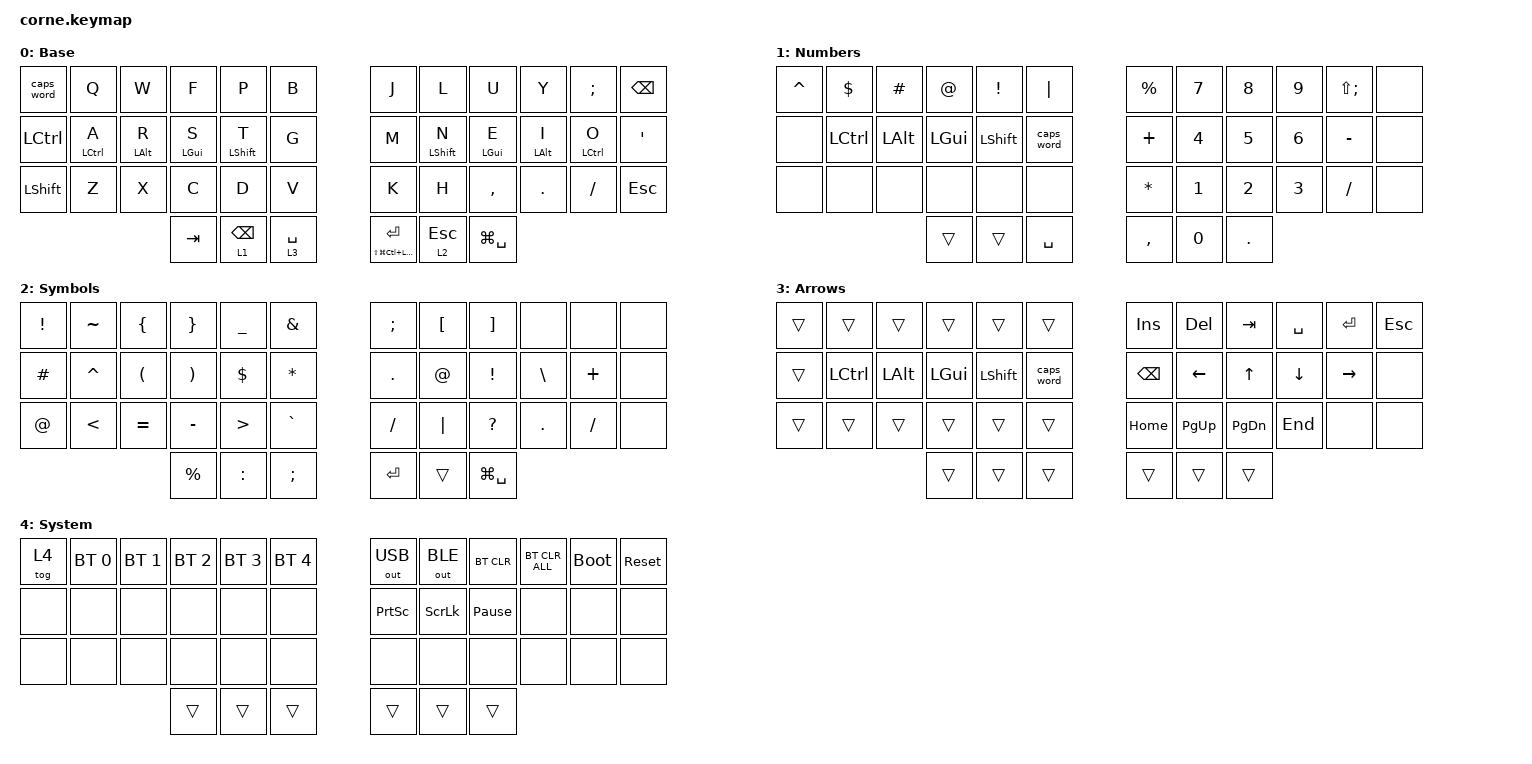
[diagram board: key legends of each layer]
/*
 * Copyright (c) 2020 The ZMK Contributors
 *
 * SPDX-License-Identifier: MIT
 */

#include <behaviors.dtsi>
#include <dt-bindings/zmk/bt.h>
#include <dt-bindings/zmk/keys.h>
#include <dt-bindings/zmk/outputs.h>

#define LEFT_HAND_KEYS  0  1  2  3  4  5 12 13 14 15 16 17 24 25 26 27 28 29
#define RIGHT_HAND_KEYS 6  7  8  9 10 11 18 19 20 21 22 23 30 31 32 33 34 35
#define THUMB_KEYS     36 37 38 39 40 41
#define HOMEY_HOLDING_TIME 240
#define HOMEY_STREAK_DECAY 160
#define HOMEY_REPEAT_DECAY 300
#define INDEX_HOLDING_TIME 180
#define INDEX_STREAK_DECAY 100
#define INDEX_REPEAT_DECAY 300
#define THUMB_HOLDING_TIME 200
#define THUMB_REPEAT_DECAY 300
#define SPACE_REPEAT_DECAY 150

/ {
    behaviors {
        lhm: left_home_row_mod {
            compatible = "zmk,behavior-hold-tap";
            flavor = "tap-preferred";
            hold-trigger-key-positions = <RIGHT_HAND_KEYS THUMB_KEYS>;
            hold-trigger-on-release;
            tapping-term-ms = <HOMEY_HOLDING_TIME>;
            quick-tap-ms = <HOMEY_REPEAT_DECAY>;
            require-prior-idle-ms = <HOMEY_STREAK_DECAY>;
            #binding-cells = <2>;
            bindings = <&kp>, <&kp>;
        };

        rhm: right_home_row_mod {
            compatible = "zmk,behavior-hold-tap";
            flavor = "tap-preferred";
            hold-trigger-key-positions = <LEFT_HAND_KEYS THUMB_KEYS>;
            hold-trigger-on-release;
            tapping-term-ms = <HOMEY_HOLDING_TIME>;
            quick-tap-ms = <HOMEY_REPEAT_DECAY>;
            require-prior-idle-ms = <HOMEY_STREAK_DECAY>;
            #binding-cells = <2>;
            bindings = <&kp>, <&kp>;
        };

        lihm: left_index_home_row_mod {
            compatible = "zmk,behavior-hold-tap";
            flavor = "tap-preferred";
            hold-trigger-key-positions = <RIGHT_HAND_KEYS THUMB_KEYS>;
            hold-trigger-on-release;
            tapping-term-ms = <INDEX_HOLDING_TIME>;
            quick-tap-ms = <INDEX_REPEAT_DECAY>;
            require-prior-idle-ms = <INDEX_STREAK_DECAY>;
            #binding-cells = <2>;
            bindings = <&kp>, <&kp>;
        };

        rihm: right_index_home_row_mod {
            compatible = "zmk,behavior-hold-tap";
            flavor = "tap-preferred";
            hold-trigger-key-positions = <LEFT_HAND_KEYS THUMB_KEYS>;
            hold-trigger-on-release;
            tapping-term-ms = <INDEX_HOLDING_TIME>;
            quick-tap-ms = <INDEX_REPEAT_DECAY>;
            require-prior-idle-ms = <INDEX_STREAK_DECAY>;
            #binding-cells = <2>;
            bindings = <&kp>, <&kp>;
        };

        thumb: thumb_layer_tap {
            compatible = "zmk,behavior-hold-tap";
            flavor = "balanced";
            tapping-term-ms = <THUMB_HOLDING_TIME>;
            quick-tap-ms = <THUMB_REPEAT_DECAY>;
            #binding-cells = <2>;
            bindings = <&mo>, <&kp>;
        };

        space: space_layer_tap {
            compatible = "zmk,behavior-hold-tap";
            flavor = "balanced";
            tapping-term-ms = <THUMB_HOLDING_TIME>;
            quick-tap-ms = <SPACE_REPEAT_DECAY>;
            #binding-cells = <2>;
            bindings = <&mo>, <&kp>;
        };

        thm: thumb_mod_tap {
            compatible = "zmk,behavior-hold-tap";
            flavor = "balanced";
            tapping-term-ms = <THUMB_HOLDING_TIME>;
            quick-tap-ms = <THUMB_REPEAT_DECAY>;
            #binding-cells = <2>;
            bindings = <&kp>, <&kp>;
        };

        behavior_caps_word {
            continue-list = <
                            UNDERSCORE MINUS
                            BACKSPACE DELETE
                            N1 N2 N3 N4 N5 N6 N7 N8 N9 N0
            >;
        };
    };
};

/ {
    combos {
        compatible = "zmk,combos";

        combo_system_layer_toggle {
            timeout-ms = <50>;
            key-positions = <0 11>;
            bindings = <&tog 4>;
            layers = <0>;
        };
    };
};

/ {
    keymap {
        compatible = "zmk,keymap";

        default_layer {
            // -----------------------------------------------------------------------------------------
            // | CAPS |  Q  |  W  |  F  |  P  |  B  |   |  J  |  L   |  U  |  Y  |  ;  | BKSP |
            // | CTRL | A/C | R/A | S/G | T/S |  G  |   |  M  | N/S  | E/G | I/A | O/C |  '   |
            // | SHFT |  Z  |  X  |  C  |  D  |  V  |   |  K  |  H   |  ,  |  .  |  /  | ESC  |
            //                    | TAB | BKSP| ARR |   | HYP | ESC/SYM | RAY |

            display-name = "Base";
            bindings = <
&caps_word  &kp Q         &kp W        &kp F        &kp P          &kp B             &kp J                      &kp L          &kp U          &kp Y        &kp SEMI      &kp BSPC
&kp LCTRL   &lhm LCTRL A  &lhm LALT R  &lhm LGUI S  &lihm LSHFT T  &kp G             &kp M                      &rihm LSHFT N  &rhm LGUI E    &rhm LALT I  &rhm LCTRL O  &kp SQT
&kp LSHFT   &kp Z         &kp X        &kp C        &kp D          &kp V             &kp K                      &kp H          &kp COMMA      &kp DOT      &kp FSLH      &kp ESC
                                       &kp TAB      &thumb 1 BSPC  &space 3 SPACE    &thm LS(LG(LC(LALT))) RET  &thumb 2 ESC   &kp LG(SPACE)
            >;
        };

        number_layer {
            // -----------------------------------------------------------------------------------------
            // |  ^   |  $  |  #  |  @  |  !  | "|" |   |  %  |  7  |  8  |  9  |  :  |     |
            // |      | CTL | ALT | GUI | SHFT| CAPS|   |  +  |  4  |  5  |  6  |  -  |     |
            // |      |     |     |     |     |     |   |  *  |  1  |  2  |  3  |  /  |     |
            //                    | TAB |     | SPC |   |  ,  |  0  |  .  |

            display-name = "Numbers";
            bindings = <
&kp CARET  &kp DLLR   &kp HASH  &kp AT    &kp EXCL   &kp PIPE      &kp PRCNT  &kp N7  &kp N8   &kp N9  &kp LS(SEMI)  &none
&none      &kp LCTRL  &kp LALT  &kp LGUI  &kp LSHFT  &caps_word    &kp PLUS   &kp N4  &kp N5   &kp N6  &kp MINUS     &none
&none      &none      &none     &none     &none      &none         &kp STAR   &kp N1  &kp N2   &kp N3  &kp FSLH      &none
                                &trans    &trans     &kp SPACE     &kp COMMA  &kp N0  &kp DOT
            >;
        };

        raise_layer {
            // -----------------------------------------------------------------------------------------
            // |  !   |  ~  |  {  |  }  |  _  |  &  |   |  ;  |  [  |  ]  |     |     |      |
            // |  #   |  ^  |  (  |  )  |  $  |  *  |   |  .  |  @  |  !  |  \  |  +  |      |
            // |  @   |  <  |  =  |  -  |  >  |  `  |   |  /  | "|" |  ?  |  .  |  /  |      |
            //                    | GUI |     | SPC |   | ENT |     | RAY |

            display-name = "Symbols";
            bindings = <
&kp EXCL  &kp TILDE  &kp LBRC   &kp RBRC     &kp UNDER  &kp AMPS     &kp SEMI  &kp LBKT  &kp RBKT       &none     &none     &none
&kp HASH  &kp CARET  &kp LPAR   &kp RPAR     &kp DLLR   &kp STAR     &kp DOT   &kp AT    &kp EXCL       &kp BSLH  &kp PLUS  &none
&kp AT    &kp LT     &kp EQUAL  &kp MINUS    &kp GT     &kp GRAVE    &kp FSLH  &kp PIPE  &kp QMARK      &kp DOT   &kp FSLH  &none
                                &kp PERCENT  &kp COLON  &kp SEMI     &kp RET   &trans    &kp LG(SPACE)
            >;
        };

        arrow_layer {
            // -----------------------------------------------------------------------------------------
            // |      |     |     |     |     |     |   | INS | DEL | TAB | SPC | RET | ESC |
            // |      | CTL | ALT | GUI | SHFT| CAPS|   | BSP | LFT |  UP | DWN | RGT |     |
            // |      |     |     |     |     |     |   | HOM | PGU | PGD | END |     |     |
            //                    |     |     |     |   |     |     |     |

            display-name = "Arrows";
            bindings = <
&trans  &trans     &trans    &trans    &trans     &trans        &kp INS   &kp DEL    &kp TAB    &kp SPACE  &kp RET    &kp ESC
&trans  &kp LCTRL  &kp LALT  &kp LGUI  &kp LSHFT  &caps_word    &kp BSPC  &kp LEFT   &kp UP     &kp DOWN   &kp RIGHT  &none
&trans  &trans     &trans    &trans    &trans     &trans        &kp HOME  &kp PG_UP  &kp PG_DN  &kp END    &none      &none
                             &trans    &trans     &trans        &trans    &trans     &trans
            >;
        };

        system_layer {
            // -----------------------------------------------------------------------------------------
            // | OFF  | BT0 | BT1 | BT2 | BT3 | BT4 |   | USB | BLE | CLR |CLRA | BOOT| RSET |
            // |      |     |     |     |     |     |   | PSCR|SLCK |PAUS |     |     |      |
            // |      |     |     |     |     |     |   |     |     |     |     |     |      |
            //                    |     |     |     |   |     |     |     |

            display-name = "System";
            bindings = <
&tog 4  &bt BT_SEL 0  &bt BT_SEL 1  &bt BT_SEL 2  &bt BT_SEL 3  &bt BT_SEL 4    &out OUT_USB  &out OUT_BLE  &bt BT_CLR       &bt BT_CLR_ALL  &bootloader  &sys_reset
&none   &none         &none         &none         &none         &none           &kp PSCRN     &kp SLCK      &kp PAUSE_BREAK  &none           &none        &none
&none   &none         &none         &none         &none         &none           &none         &none         &none            &none           &none        &none
                                    &trans        &trans        &trans          &trans        &trans        &trans
            >;
        };

        extra_3 { status = "reserved"; };
    };
};
